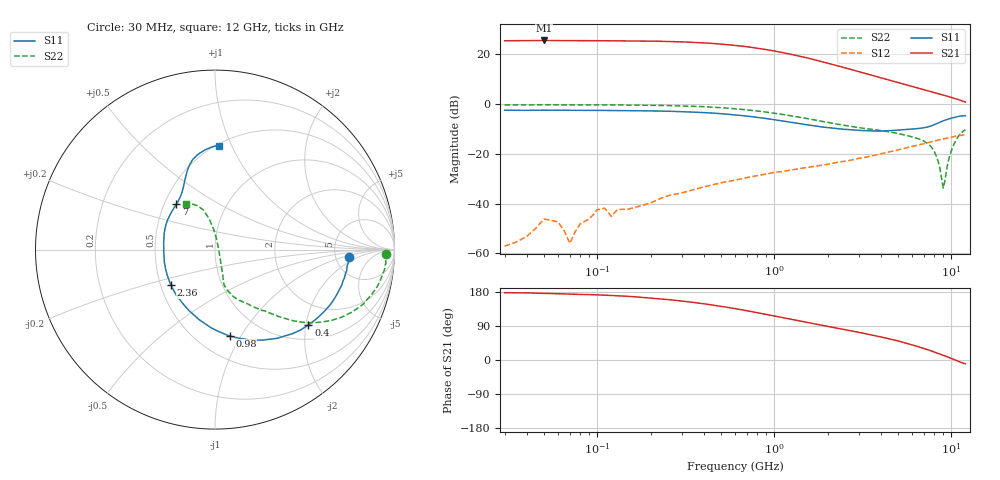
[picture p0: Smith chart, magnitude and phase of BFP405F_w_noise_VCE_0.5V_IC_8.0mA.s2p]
! Infineon Technologies  Discrete & RF Semiconductors
! BFP405F
! VCE =  0.5 V,  IC =  8.0 mA
! Common Emitter S-Parameters:  Nov 2015
# GHz  S  MA  R  50
!  f  S11  S21  S12  S22
! GHz  MAG  ANG  MAG  ANG  MAG  ANG  MAG  ANG
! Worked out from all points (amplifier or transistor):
!   239 points, 30 MHz to 12 GHz, reference 50 ohm
!   highest |S21| = 25.4 dB at 50 MHz (marker M1)
!   |S21| within 3 dB of that: start of sweep to 782.9 MHz
!   unconditionally stable (mu >= 1): 2.066 GHz to end of sweep
!   at 300 MHz: K = 0.21, MSG = 30.3 dB, |S12| = -35.7 dB
!   at 1.88 GHz: K = 0.95, MSG = 20.7 dB, |S12| = -24.5 dB
!   at 12 GHz: K = 1.43, MAG = 2.7 dB, |S12| = -12.3 dB
!   lowest NFmin = 1.52 dB at 450 MHz
!   S11 on the Smith chart (normalised r, x): 30 MHz: 6.66, -1.22; 400 MHz: 1.36, -2.07; 980 MHz: 0.71, -0.90; 2.36 GHz: 0.57, -0.25; 7 GHz: 0.58, +0.33; 12 GHz: 0.51, +0.90
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0.03  0.7465 -3.1  18.46 177.6  0.0014 85.0  0.9528 -1.4
0.05  0.7491 -5.1  18.73 175.8  0.0049 77.5  0.9641 -2.3
0.06  0.7446 -6.0  18.58 175.1  0.0043 86.8  0.9547 -3.1
0.07  0.7422 -6.8  18.6 173.8  0.0016 111.5  0.9521 -3.5
0.085  0.743 -8.8  18.54 172.8  0.0044 112.8  0.9541 -4.4
0.145  0.7335 -14.9  18.44 168.4  0.0076 85.4  0.9472 -7.7
0.24  0.7155 -24.1  17.93 160.4  0.0137 79.2  0.9277 -12.7
0.3  0.6988 -29.7  17.57 155.6  0.0164 76.8  0.9097 -15.7
0.4  0.6689 -38.9  16.74 148.3  0.0217 72.5  0.879 -20.3
0.6  0.6028 -55.1  14.91 135.5  0.0295 66.9  0.7997 -28.1
0.74  0.5561 -65.0  13.65 127.9  0.0344 63.6  0.7446 -32.3
0.98  0.4875 -80.3  11.67 117.0  0.0416 58.2  0.6574 -38.2
1.3  0.4153 -98.1  9.547 105.5  0.0481 55.9  0.562 -43.7
1.64  0.367 -113.9  7.881 96.6  0.0549 54.0  0.487 -47.9
2.36  0.3144 -141.5  5.622 82.4  0.0688 52.3  0.3826 -56.3
3.3  0.2905 -166.4  4.04 69.0  0.0853 50.4  0.3179 -63.5
4.5  0.2904 169.4  2.973 55.5  0.1096 47.4  0.2736 -69.4
7  0.3322 130.3  1.934 30.2  0.1592 36.6  0.1792 -74.7
8.2  0.3975 116.0  1.651 19.5  0.1837 30.6  0.0922 -68.3
9  0.4577 110.1  1.503 12.3  0.1984 26.2  0.0206 4.2
10  0.5174 103.9  1.351 4.1  0.2165 20.6  0.1151 94.0
12  0.5801 87.7  1.09 -10.1  0.2415 10.9  0.3029 122.5
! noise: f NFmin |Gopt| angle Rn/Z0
0.45  1.52  0.27  6  0.33
0.9  1.54  0.24  12  0.32
1.5  1.6  0.23  17  0.29
1.9  1.63  0.21  23  0.3
2.4  1.77  0.2  31  0.33
3  1.84  0.18  45  0.31
3.5  1.9  0.16  52  0.3
4.5  2.05  0.13  55  0.2
5.5  2.24  0.07  59  0.06
